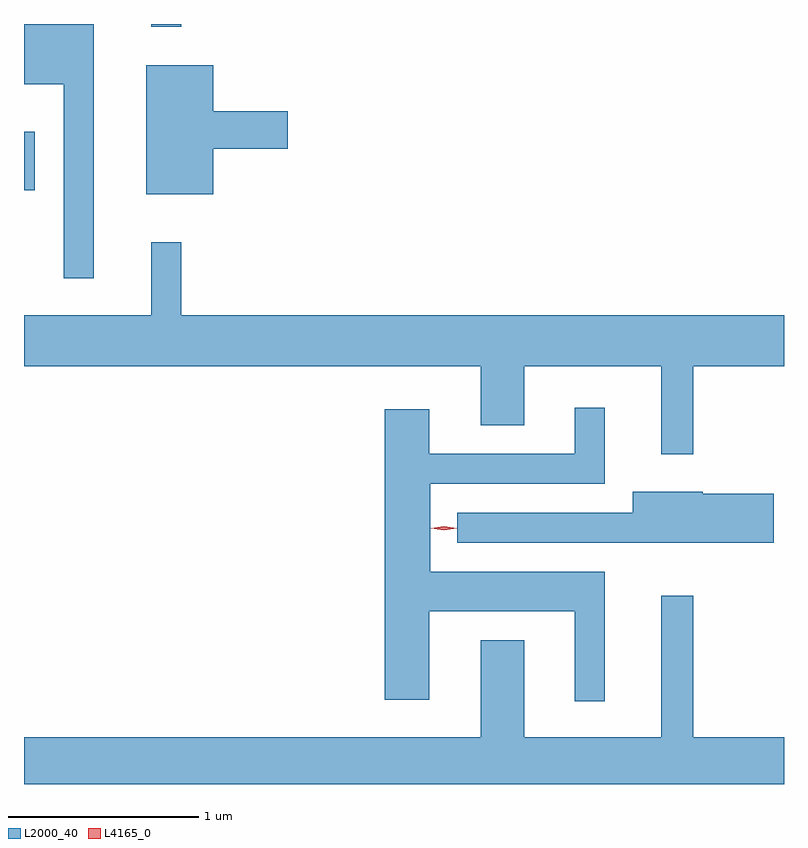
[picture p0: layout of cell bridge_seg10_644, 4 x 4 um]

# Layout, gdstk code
import gdstk
lib = gdstk.Library(unit=1e-6, precision=1e-09)
def R(c, l, rs):  # rectangles x0, y0, x1, y1
    for r in rs: c.add(gdstk.rectangle(r[:2], r[2:], *l))
def P(c, l, *ps):  # polygons
    for p in ps: c.add(gdstk.Polygon(p, *l))
L2000_40 = (2000, 40)
L4165_0 = (4165, 0)

bridge_seg10_644 = lib.new_cell('bridge_seg10_644')
R(bridge_seg10_644, L2000_40, [(929.717,2099.301,929.774,2099.609), (930.386,2100.163,930.544,2100.177)])
P(bridge_seg10_644, L2000_40, [(930.084,2100.177),(929.717,2100.177),(929.717,2099.861),(929.926,2099.861),(929.926,2098.838),(930.084,2098.838)],
  [(930.714,2099.521),(931.104,2099.521),(931.104,2099.719),(930.714,2099.719),(930.714,2099.959),(930.361,2099.959),(930.361,2099.281),(930.714,2099.281)],
  [(933.239,2098.376),(933.717,2098.376),(933.717,2098.644),(930.544,2098.644),(930.544,2099.028),(930.386,2099.028),(930.386,2098.644),(929.717,2098.644),(929.717,2098.376),(932.121,2098.376),(932.121,2098.066),(932.349,2098.066),(932.349,2098.376),(933.071,2098.376),(933.071,2097.913),(933.239,2097.913)],
  [(932.774,2097.294),(931.854,2097.294),(931.854,2097.756),(932.774,2097.756),(932.774,2098.158),(932.616,2098.158),(932.616,2097.914),(931.849,2097.914),(931.849,2098.149),(931.616,2098.149),(931.616,2096.621),(931.849,2096.621),(931.849,2097.086),(932.616,2097.086),(932.616,2096.613),(932.774,2096.613)],
  [(933.664,2097.704),(933.29,2097.704),(933.29,2097.714),(932.921,2097.714),(932.921,2097.604),(931.998,2097.604),(931.998,2097.446),(933.664,2097.446)],
  [(929.717,2096.177),(933.717,2096.177),(933.717,2096.424),(933.239,2096.424),(933.239,2097.168),(933.071,2097.168),(933.071,2096.424),(932.349,2096.424),(932.349,2096.934),(932.121,2096.934),(932.121,2096.424),(929.717,2096.424)])
P(bridge_seg10_644, L4165_0, [(931.927,2097.513),(931.861,2097.522),(931.86,2097.523),(931.861,2097.524),(931.927,2097.533),(931.992,2097.524),(931.993,2097.523),(931.992,2097.522)],
  [(931.927,2097.513),(931.858,2097.522),(931.857,2097.523),(931.858,2097.524),(931.927,2097.533),(931.996,2097.524),(931.996,2097.523),(931.996,2097.522)])

lib.write_gds('bridge_seg10_644.gds')
